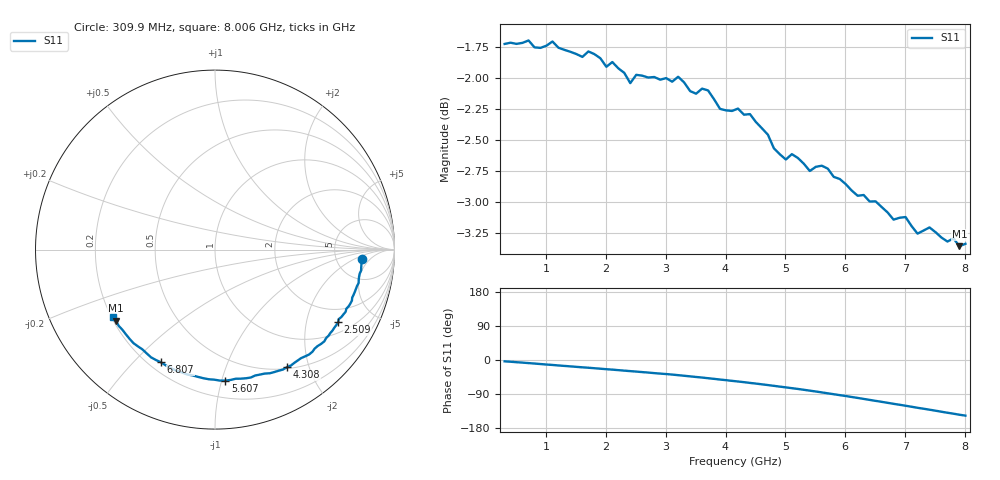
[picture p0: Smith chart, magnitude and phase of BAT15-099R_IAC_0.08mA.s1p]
! Infineon Technologies  Discrete & RF Semiconductors
! BAT15-099R
! IAC = 0.08 mA
! One-Port S-Parameters
# Hz  S  MA  R  50
!f  S11
!Hz  Mag  Ang
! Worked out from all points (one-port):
!   78 points, 309.9 MHz to 8.006 GHz, reference 50 ohm
!   lowest |S11| = -3.4 dB at 7.906 GHz (marker M1), VSWR 5.24, Z = 10.5 - j15.4 ohm
!   |S11| at or under -10 dB: nowhere
!   S11 on the Smith chart (normalised r, x): 309.9 MHz: 9.21, -2.84; 2.509 GHz: 1.39, -3.09; 4.308 GHz: 0.52, -1.66; 5.607 GHz: 0.33, -1.03; 6.807 GHz: 0.25, -0.60; 8.006 GHz: 0.21, -0.29
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3.0985e8  0.8197 -3.5
7.0965e8  0.8224 -8.2
9.0955e8  0.8167 -10.7
1.10945e9  0.8216 -13.1
1.30935e9  0.8153 -15.6
1.70915e9  0.8141 -20.4
2.10895e9  0.8061 -25.4
2.30885e9  0.798 -28.1
2.4088e9  0.7905 -29.4
2.50875e9  0.7966 -30.5
3.2084e9  0.7951 -40.0
3.70815e9  0.7851 -48.1
3.90805e9  0.7718 -51.6
4.2079e9  0.772 -56.7
4.30785e9  0.7677 -58.5
4.6077e9  0.758 -64.2
5.0075e9  0.7364 -72.3
5.2074e9  0.7374 -76.4
5.6072e9  0.7321 -85.5
5.90705e9  0.7232 -92.7
6.10695e9  0.7155 -97.6
6.50675e9  0.7083 -107.8
6.8066e9  0.6964 -115.7
7.0065e9  0.6981 -120.7
7.10645e9  0.6923 -123.4
7.4063e9  0.6914 -131.1
7.90605e9  0.6794 -144.4
8.006e9  0.6809 -146.8
